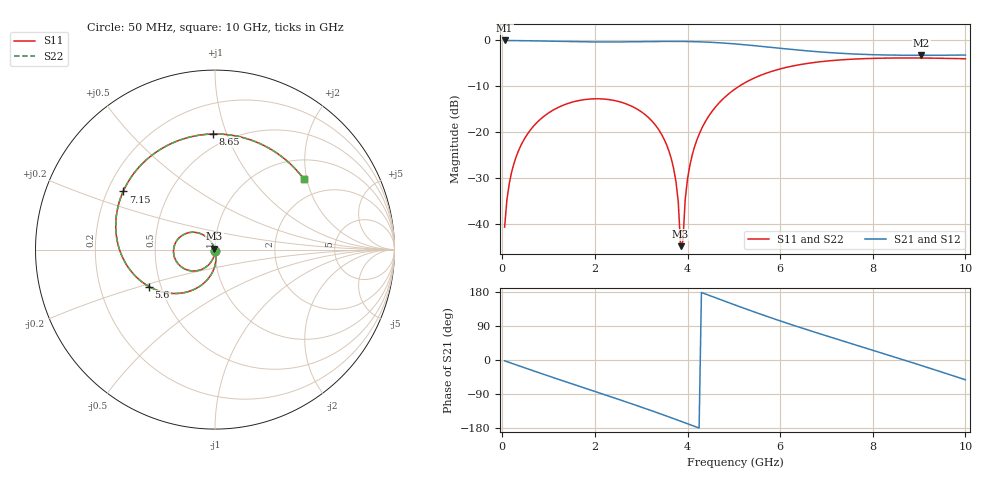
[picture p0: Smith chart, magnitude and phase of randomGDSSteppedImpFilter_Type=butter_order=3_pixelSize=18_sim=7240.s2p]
! freq	dB(S11)	phase(S11)	dB(S12)	phase(S12)
!  dB(S21)	phase(S21)	dB(S22)	phase(S22)
!S-par simulation data
#  GHz  S  DB  R 50
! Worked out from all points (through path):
!   200 points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, 50 MHz to 10 GHz, reference 50 ohm
!   highest |S21| = 0.00 dB at 50 MHz (marker M1); lowest = -3.2 dB at 9.05 GHz (marker M2)
!   group delay of S21, straight-line fit = 116 ps
!   lowest |S11| = -44.8 dB at 3.85 GHz (marker M3), VSWR 1.01, Z = 49.7 + j0.495 ohm
!   |S11| at or under -10 dB: start of sweep to 5.111 GHz
!   |S22| runs from -44.9 to -3.8 dB; largest |S21 - S12| = 0
!   S11 on the Smith chart (normalised r, x): 50 MHz: 1.00, -0.02; 5.6 GHz: 0.43, -0.22; 7.15 GHz: 0.26, +0.27; 8.65 GHz: 0.41, +0.90; 10 GHz: 1.47, +1.92
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0.05  -40.67 -91.9  -0.00 -2.2  -0.00 -2.2  -40.67 -91.9
0.2  -28.76 -98.9  -0.02 -8.6  -0.02 -8.6  -28.76 -98.9
0.5  -21.07 -112.0  -0.06 -21.3  -0.06 -21.3  -21.07 -112.0
1  -15.79 -133.0  -0.16 -42.3  -0.16 -42.3  -15.79 -133.0
1.75  -12.93 -163.8  -0.31 -72.9  -0.31 -72.9  -12.93 -163.8
2.6  -13.56 161.7  -0.32 -107.5  -0.32 -107.5  -13.56 161.7
3.4  -19.80 128.2  -0.22 -141.4  -0.22 -141.4  -19.80 128.1
3.7  -27.90 115.9  -0.21 -154.7  -0.21 -154.7  -27.90 115.6
3.8  -35.17 113.5  -0.21 -159.2  -0.21 -159.2  -35.17 112.8
3.85  -44.82 119.9  -0.22 -161.4  -0.22 -161.4  -44.88 117.4
3.9  -43.72 -89.1  -0.22 -163.7  -0.22 -163.7  -43.79 -86.4
3.95  -34.61 -80.4  -0.23 -165.9  -0.23 -165.9  -34.61 -79.7
4  -30.18 -81.2  -0.24 -168.2  -0.24 -168.2  -30.18 -80.8
4.2  -21.72 -89.0  -0.28 -177.3  -0.28 -177.3  -21.73 -88.8
5.05  -10.40 -126.9  -0.78 144.0  -0.78 144.0  -10.40 -126.8
5.6  -7.51 -150.7  -1.30 120.0  -1.30 120.0  -7.51 -150.7
6.7  -4.85 164.9  -2.37 75.3  -2.37 75.3  -4.85 164.9
7.15  -4.36 147.7  -2.71 58.0  -2.71 58.0  -4.36 147.7
8.35  -3.84 102.3  -3.18 12.4  -3.18 12.4  -3.84 102.3
8.65  -3.82 90.9  -3.22 0.9  -3.22 0.9  -3.82 90.9
9.05  -3.83 75.5  -3.24 -14.6  -3.24 -14.6  -3.83 75.5
10  -3.99 38.4  -3.19 -52.2  -3.19 -52.2  -3.99 38.4
